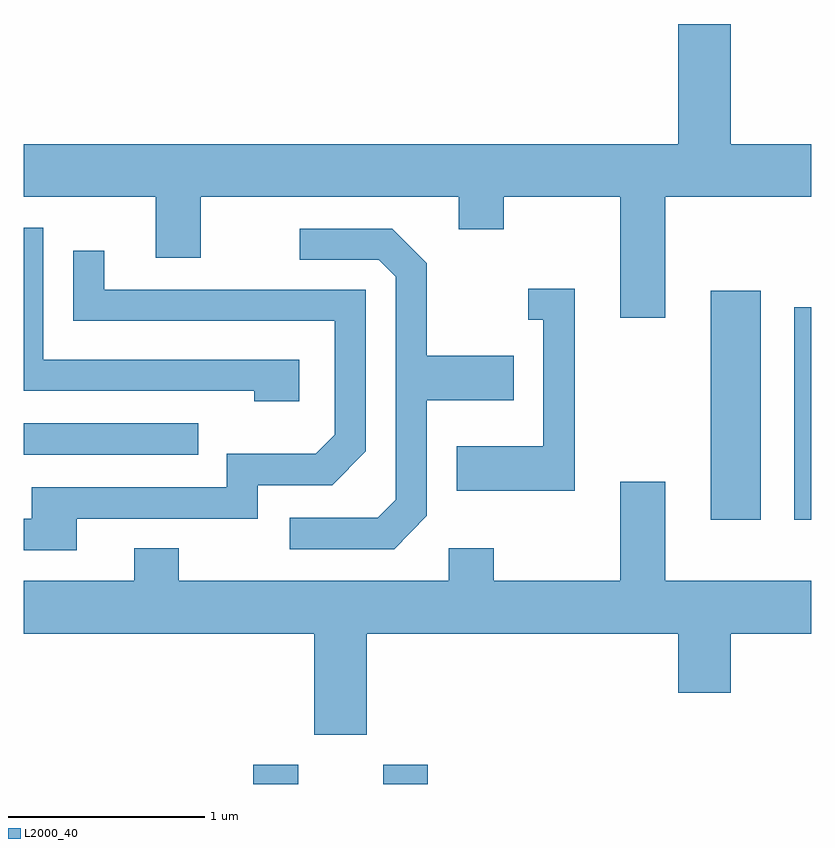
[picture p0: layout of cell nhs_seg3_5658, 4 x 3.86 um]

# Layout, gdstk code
import gdstk
lib = gdstk.Library(unit=1e-6, precision=1e-09)
def R(c, l, rs):  # rectangles x0, y0, x1, y1
    for r in rs: c.add(gdstk.rectangle(r[:2], r[2:], *l))
def P(c, l, *ps):  # polygons
    for p in ps: c.add(gdstk.Polygon(p, *l))
L2000_40 = (2000, 40)

nhs_seg3_5658 = lib.new_cell('nhs_seg3_5658')
R(nhs_seg3_5658, L2000_40, [(352.776,1151.892,353.004,1151.989), (353.436,1151.892,353.664,1151.989), (355.101,1153.236,355.354,1154.399), (355.526,1153.236,355.611,1154.314), (351.611,1153.566,352.498,1153.724)])
P(nhs_seg3_5658, L2000_40, [(354.869,1154.876),(355.611,1154.876),(355.611,1155.144),(355.204,1155.144),(355.204,1155.754),(354.936,1155.754),(354.936,1155.144),(351.611,1155.144),(351.611,1154.876),(352.281,1154.876),(352.281,1154.566),(352.509,1154.566),(352.509,1154.876),(353.821,1154.876),(353.821,1154.711),(354.049,1154.711),(354.049,1154.876),(354.641,1154.876),(354.641,1154.261),(354.869,1154.261)],
  [(353.009,1154.049),(351.709,1154.049),(351.709,1154.719),(351.611,1154.719),(351.611,1153.891),(352.781,1153.891),(352.781,1153.836),(353.009,1153.836)],
  [(353.659,1153.254),(353.659,1153.841),(354.099,1153.841),(354.099,1154.069),(353.659,1154.069),(353.659,1154.537),(353.482,1154.714),(353.013,1154.714),(353.013,1154.556),(353.414,1154.556),(353.501,1154.469),(353.501,1153.337),(353.409,1153.244),(352.963,1153.244),(352.963,1153.086),(353.492,1153.086)],
  [(351.879,1153.241),(352.799,1153.241),(352.799,1153.411),(353.177,1153.411),(353.349,1153.584),(353.349,1154.404),(352.019,1154.404),(352.019,1154.603),(351.861,1154.603),(351.861,1154.246),(353.191,1154.246),(353.191,1153.667),(353.094,1153.569),(352.641,1153.569),(352.641,1153.399),(351.651,1153.399),(351.651,1153.239),(351.611,1153.239),(351.611,1153.081),(351.879,1153.081)],
  [(354.409,1154.409),(354.173,1154.409),(354.173,1154.251),(354.251,1154.251),(354.251,1153.609),(353.811,1153.609),(353.811,1153.381),(354.409,1153.381)],
  [(353.354,1152.656),(354.936,1152.656),(354.936,1152.356),(355.204,1152.356),(355.204,1152.656),(355.611,1152.656),(355.611,1152.924),(354.869,1152.924),(354.869,1153.429),(354.641,1153.429),(354.641,1152.924),(353.999,1152.924),(353.999,1153.089),(353.771,1153.089),(353.771,1152.924),(352.399,1152.924),(352.399,1153.089),(352.171,1153.089),(352.171,1152.924),(351.611,1152.924),(351.611,1152.656),(353.086,1152.656),(353.086,1152.141),(353.354,1152.141)])

lib.write_gds('nhs_seg3_5658.gds')
